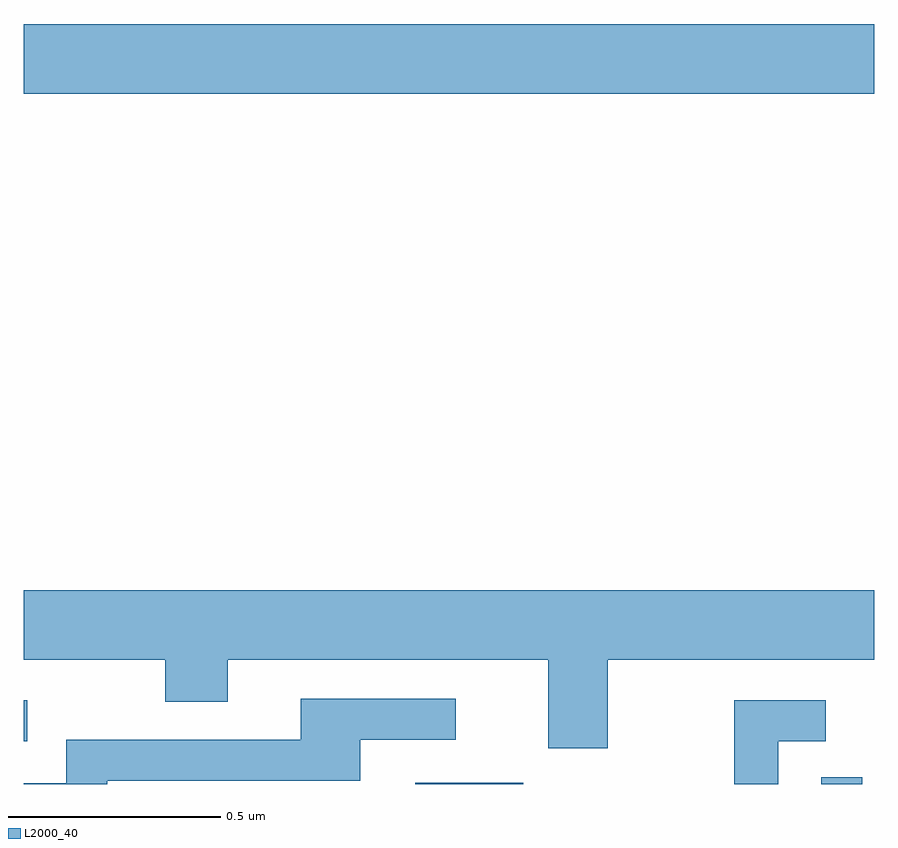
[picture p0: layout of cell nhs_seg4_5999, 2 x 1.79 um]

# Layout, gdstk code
import gdstk
lib = gdstk.Library(unit=1e-6, precision=1e-09)
def R(c, l, rs):  # rectangles x0, y0, x1, y1
    for r in rs: c.add(gdstk.rectangle(r[:2], r[2:], *l))
def P(c, l, *ps):  # polygons
    for p in ps: c.add(gdstk.Polygon(p, *l))
L2000_40 = (2000, 40)

nhs_seg4_5999 = lib.new_cell('nhs_seg4_5999')
R(nhs_seg4_5999, L2000_40, [(185.921,757.9,186.175,757.903), (186.876,757.9,186.972,757.916), (185,758.001,185.008,758.097), (185,759.524,187,759.688)])
P(nhs_seg4_5999, L2000_40, [(186.373,758.192),(187,758.192),(187,758.356),(185,758.356),(185,758.192),(185.332,758.192),(185.332,758.093),(185.479,758.093),(185.479,758.192),(186.233,758.192),(186.233,757.984),(186.373,757.984)],
  [(185.196,757.908),(185.791,757.908),(185.791,758.004),(186.016,758.004),(186.016,758.1),(185.651,758.1),(185.651,758.004),(185.1,758.004),(185.1,757.902),(185,757.902),(185,757.9),(185.196,757.9)],
  [(186.775,758.001),(186.886,758.001),(186.886,758.097),(186.671,758.097),(186.671,757.9),(186.775,757.9)])

lib.write_gds('nhs_seg4_5999.gds')
